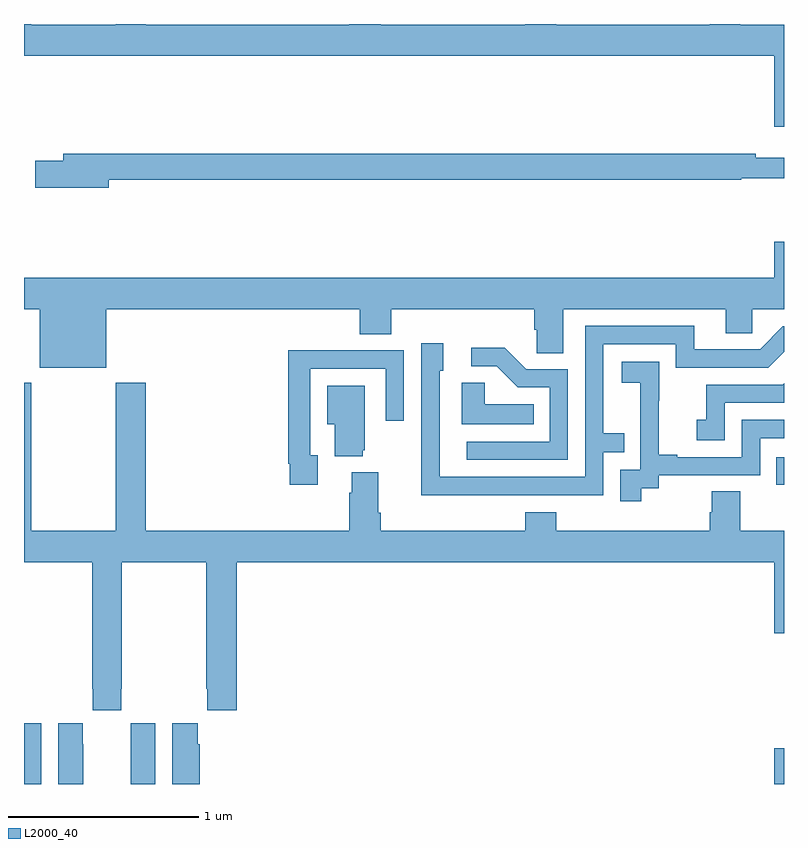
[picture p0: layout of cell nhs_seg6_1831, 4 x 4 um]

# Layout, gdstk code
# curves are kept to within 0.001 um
import gdstk
lib = gdstk.Library(unit=1e-6, precision=1e-09)
def R(c, l, rs):  # rectangles x0, y0, x1, y1
    for r in rs: c.add(gdstk.rectangle(r[:2], r[2:], *l))
def P(c, l, *ps):  # polygons
    for p in ps: c.add(gdstk.Polygon(p, *l))
L2000_40 = (2000, 40)

nhs_seg6_1831 = lib.new_cell('nhs_seg6_1831')
R(nhs_seg6_1831, L2000_40, [(221,947.5,221.092,947.821), (224.948,947.5,225,947.689), (224.959,949.074,225,949.221)])
P(nhs_seg6_1831, L2000_40, [(225,951.496),(224.769,951.496),(224.769,951.5),(224.609,951.5),(224.609,951.496),(223.802,951.496),(223.802,951.5),(223.637,951.5),(223.637,951.496),(222.878,951.496),(222.878,951.5),(222.713,951.5),(222.713,951.496),(221.642,951.496),(221.642,951.5),(221.482,951.5),(221.482,951.496),(221.037,951.496),(221.037,951.5),(221,951.5),(221,951.332),(224.948,951.332),(224.948,950.958),(225,950.958)],
  [(221.446,950.68),(224.776,950.68),(224.776,950.688),(225,950.688),(225,950.797),(224.852,950.797),(224.852,950.816),(221.207,950.816),(221.207,950.78),(221.058,950.78),(221.058,950.638),(221.446,950.638)],
  [(221,950),(221.084,950),(221.084,949.691),(221.434,949.691),(221.434,950),(222.767,950),(222.767,949.867),(222.932,949.867),(222.932,950),(223.685,950),(223.685,949.891),(223.698,949.891),(223.698,949.768),(223.837,949.768),(223.837,950),(224.693,950),(224.693,949.873),(224.832,949.873),(224.832,950),(225,950),(225,950.353),(224.948,950.353),(224.948,950.164),(221,950.164)],
  [(223.553,949.02),(224.049,949.02),(224.049,949.245),(224.159,949.245),(224.159,949.346),(224.049,949.346),(224.049,949.815),(224.43,949.815),(224.43,949.692),(224.916,949.692),(225,949.776),(225,949.908),(224.994,949.908),(224.874,949.788),(224.527,949.788),(224.527,949.911),(223.953,949.911),(223.953,949.116),(223.188,949.116),(223.188,949.674),(223.207,949.674),(223.207,949.819),(223.092,949.819),(223.092,949.325),(223.09,949.325),(223.09,949.019)],
  [(223.863,949.683),(223.644,949.683),(223.531,949.796),(223.353,949.796),(223.353,949.698),(223.487,949.698),(223.598,949.587),(223.767,949.587),(223.767,949.302),(223.329,949.302),(223.329,949.206),(223.863,949.206)],
  [(222.547,949.23),(222.507,949.23),(222.507,949.686),(222.903,949.686),(222.903,949.413),(222.999,949.413),(222.999,949.782),(222.683,949.782),(222.683,949.784),(222.391,949.784),(222.391,949.186),(222.399,949.186),(222.399,949.074),(222.547,949.074)],
  [(224.248,949.057),(224.34,949.057),(224.34,949.125),(224.874,949.125),(224.874,949.32),(225,949.32),(225,949.416),(224.778,949.416),(224.778,949.221),(224.437,949.221),(224.437,949.234),(224.342,949.234),(224.342,949.517),(224.343,949.517),(224.343,949.723),(224.145,949.723),(224.145,949.613),(224.243,949.613),(224.243,949.385),(224.244,949.385),(224.244,949.155),(224.139,949.155),(224.139,948.987),(224.248,948.987)],
  [(223.682,949.498),(223.425,949.498),(223.425,949.613),(223.304,949.613),(223.304,949.394),(223.682,949.394)],
  [(221.511,948.001),(221.514,948.001),(221.514,948.668),(221.959,948.668),(221.959,948.001),(221.965,948.001),(221.965,947.889),(222.119,947.889),(222.119,948.668),(224.948,948.668),(224.948,948.294),(225,948.294),(225,948.832),(224.769,948.832),(224.769,949.04),(224.621,949.04),(224.621,948.93),(224.609,948.93),(224.609,948.832),(223.802,948.832),(223.802,948.931),(223.637,948.931),(223.637,948.832),(222.878,948.832),(222.878,948.928),(222.865,948.928),(222.865,949.141),(222.725,949.141),(222.725,949.034),(222.713,949.034),(222.713,948.832),(221.642,948.832),(221.642,949.612),(221.482,949.612),(221.482,948.832),(221.037,948.832),(221.037,949.612),(221,949.612),(221,948.668),(221.359,948.668),(221.359,948.001),(221.361,948.001),(221.361,947.889),(221.511,947.889)],
  [(224.688,949.506),(225,949.506),(225,949.609),(224.993,949.602),(224.59,949.602),(224.59,949.417),(224.541,949.417),(224.541,949.308),(224.688,949.308)],
  [(222.782,949.257),(222.793,949.257),(222.793,949.597),(222.596,949.597),(222.596,949.394),(222.635,949.394),(222.635,949.226),(222.782,949.226)],
  [(221.311,947.708),(221.31,947.708),(221.31,947.821),(221.18,947.821),(221.18,947.5),(221.311,947.5)],
  [(221.692,947.821),(221.562,947.821),(221.562,947.708),(221.561,947.708),(221.561,947.5),(221.692,947.5)],
  [(221.924,947.708),(221.914,947.708),(221.914,947.821),(221.78,947.821),(221.78,947.5),(221.924,947.5)])

lib.write_gds('nhs_seg6_1831.gds')
